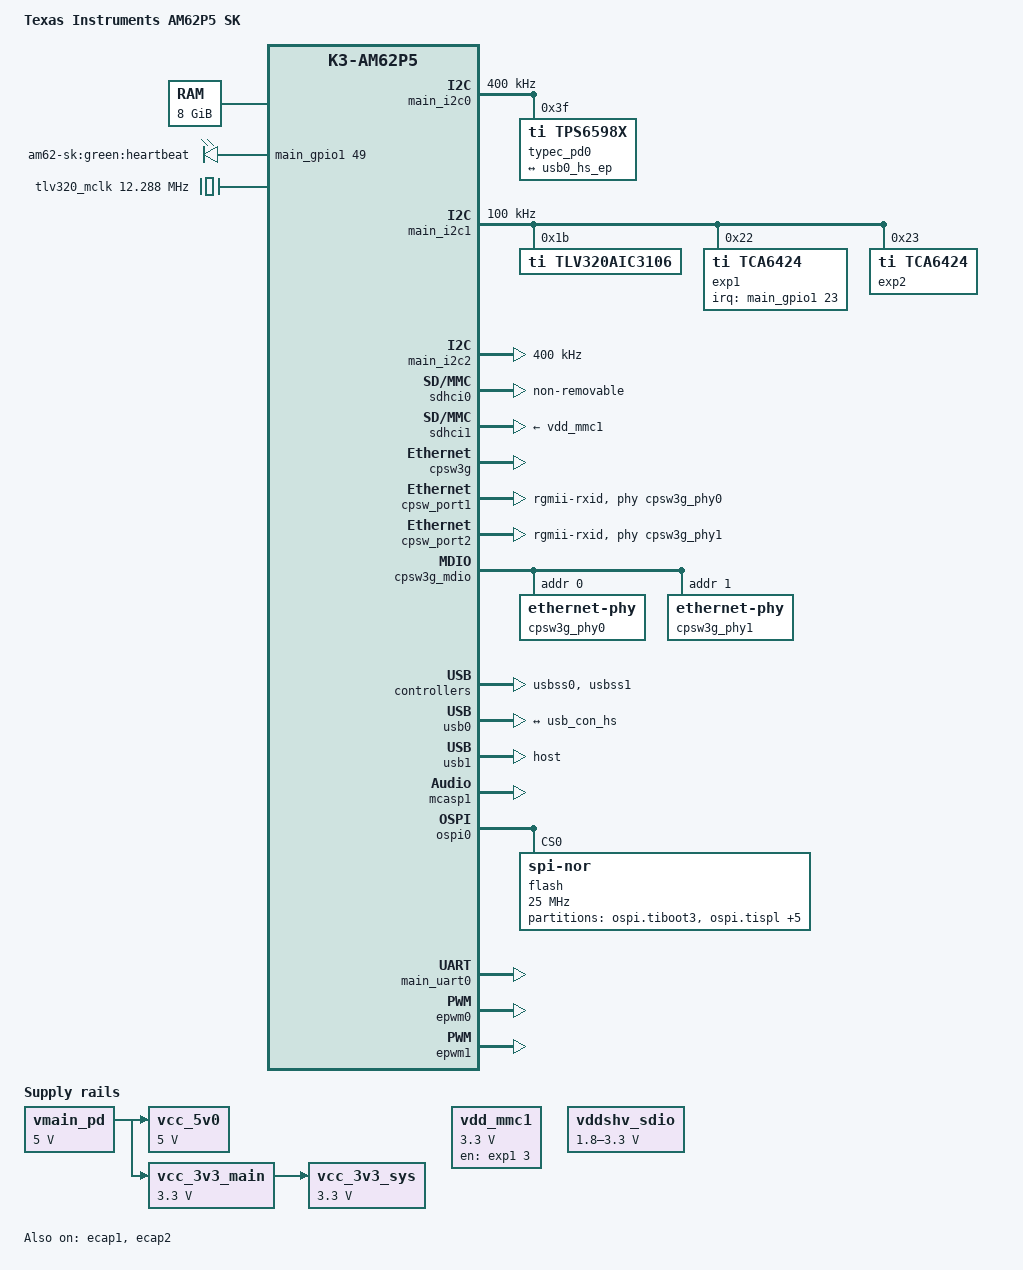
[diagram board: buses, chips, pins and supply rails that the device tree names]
// SPDX-License-Identifier: GPL-2.0-only OR MIT
/*
 * Device Tree file for the AM62P5-SK
 * Copyright (C) 2023-2024 Texas Instruments Incorporated - https://www.ti.com/
 *
 * Schematics: https://www.ti.com/lit/zip/sprr487
 */

/dts-v1/;

#include <dt-bindings/leds/common.h>
#include <dt-bindings/gpio/gpio.h>
#include <dt-bindings/net/ti-dp83867.h>
#include "k3-am62p5.dtsi"

/ {
	compatible = "ti,am62p5-sk", "ti,am62p5";
	model = "Texas Instruments AM62P5 SK";

	aliases {
		serial0 = &wkup_uart0;
		serial1 = &mcu_uart0;
		serial2 = &main_uart0;
		serial3 = &main_uart1;
		mmc0 = &sdhci0;
		mmc1 = &sdhci1;
		mmc2 = &sdhci2;
		spi0 = &ospi0;
		ethernet0 = &cpsw_port1;
		ethernet1 = &cpsw_port2;
		usb0 = &usb0;
		usb1 = &usb1;
	};

	chosen {
		stdout-path = &main_uart0;
	};

	memory@80000000 {
		/* 8G RAM */
		reg = <0x00000000 0x80000000 0x00000000 0x80000000>,
		      <0x00000008 0x80000000 0x00000001 0x80000000>;
		device_type = "memory";
		bootph-pre-ram;
	};

	reserved_memory: reserved-memory {
		#address-cells = <2>;
		#size-cells = <2>;
		ranges;

		wkup_r5fss0_core0_dma_memory_region: memory@9c800000 {
			compatible = "shared-dma-pool";
			reg = <0x00 0x9c800000 0x00 0x100000>;
			no-map;
		};

		wkup_r5fss0_core0_memory_region: memory@9c900000 {
			compatible = "shared-dma-pool";
			reg = <0x00 0x9c900000 0x00 0xf00000>;
			no-map;
		};

		secure_tfa_ddr: tfa@9e780000 {
			reg = <0x00 0x9e780000 0x00 0x80000>;
			no-map;
		};

		secure_ddr: optee@9e800000 {
			reg = <0x00 0x9e800000 0x00 0x01800000>; /* for OP-TEE */
			no-map;
		};
	};

	vmain_pd: regulator-0 {
		/* TPS65988 PD CONTROLLER OUTPUT */
		compatible = "regulator-fixed";
		regulator-name = "vmain_pd";
		regulator-min-microvolt = <5000000>;
		regulator-max-microvolt = <5000000>;
		regulator-always-on;
		regulator-boot-on;
		bootph-all;
	};

	vcc_5v0: regulator-1 {
		/* Output of TPS630702RNMR */
		compatible = "regulator-fixed";
		regulator-name = "vcc_5v0";
		regulator-min-microvolt = <5000000>;
		regulator-max-microvolt = <5000000>;
		vin-supply = <&vmain_pd>;
		regulator-always-on;
		regulator-boot-on;
		bootph-all;
	};

	vdd_mmc1: regulator-2 {
		/* TPS22918DBVR */
		compatible = "regulator-fixed";
		regulator-name = "vdd_mmc1";
		regulator-min-microvolt = <3300000>;
		regulator-max-microvolt = <3300000>;
		regulator-boot-on;
		enable-active-high;
		gpio = <&exp1 3 GPIO_ACTIVE_HIGH>;
		bootph-all;
	};

	vddshv_sdio: regulator-3 {
		compatible = "regulator-gpio";
		regulator-name = "vddshv_sdio";
		pinctrl-names = "default";
		pinctrl-0 = <&vddshv_sdio_pins_default>;
		regulator-min-microvolt = <1800000>;
		regulator-max-microvolt = <3300000>;
		regulator-boot-on;
		gpios = <&main_gpio0 31 GPIO_ACTIVE_HIGH>;
		states = <1800000 0x0>,
			 <3300000 0x1>;
		bootph-all;
	};

	vcc_3v3_main: regulator-4 {
		/* output of LM5141-Q1 */
		compatible = "regulator-fixed";
		regulator-name = "vcc_3v3_main";
		regulator-min-microvolt = <3300000>;
		regulator-max-microvolt = <3300000>;
		vin-supply = <&vmain_pd>;
		regulator-always-on;
		regulator-boot-on;
	};

	vcc_3v3_sys: regulator-5 {
		/* output of TPS222965DSGT */
		compatible = "regulator-fixed";
		regulator-name = "vcc_3v3_sys";
		regulator-min-microvolt = <3300000>;
		regulator-max-microvolt = <3300000>;
		vin-supply = <&vcc_3v3_main>;
		regulator-always-on;
		regulator-boot-on;
	};

	leds {
		compatible = "gpio-leds";
		pinctrl-names = "default";
		pinctrl-0 = <&usr_led_pins_default>;

		led-0 {
			label = "am62-sk:green:heartbeat";
			gpios = <&main_gpio1 49 GPIO_ACTIVE_HIGH>;
			linux,default-trigger = "heartbeat";
			function = LED_FUNCTION_HEARTBEAT;
			default-state = "off";
		};
	};

	opp-table {
		/* Requires VDD_CORE at 0v85 */
		opp-1400000000 {
			opp-hz = /bits/ 64 <1400000000>;
			opp-supported-hw = <0x01 0x0004>;
			clock-latency-ns = <6000000>;
		};
	};

	tlv320_mclk: clk-0 {
		#clock-cells = <0>;
		compatible = "fixed-clock";
		clock-frequency = <12288000>;
	};

	codec_audio: sound {
		compatible = "simple-audio-card";
		simple-audio-card,name = "AM62x-SKEVM";
		simple-audio-card,widgets =
			"Headphone",	"Headphone Jack",
			"Line",		"Line In",
			"Microphone",	"Microphone Jack";
		simple-audio-card,routing =
			"Headphone Jack",	"HPLOUT",
			"Headphone Jack",	"HPROUT",
			"LINE1L",		"Line In",
			"LINE1R",		"Line In",
			"MIC3R",		"Microphone Jack",
			"Microphone Jack",	"Mic Bias";
		simple-audio-card,format = "dsp_b";
		simple-audio-card,bitclock-master = <&sound_master>;
		simple-audio-card,frame-master = <&sound_master>;
		simple-audio-card,bitclock-inversion;

		simple-audio-card,cpu {
			sound-dai = <&mcasp1>;
		};

		sound_master: simple-audio-card,codec {
			sound-dai = <&tlv320aic3106>;
			clocks = <&tlv320_mclk>;
		};
	};
};

&cpsw_mac_syscon {
	bootph-all;
};

&phy_gmii_sel {
	bootph-all;
};

&main_gpio0 {
	bootph-all;
};

&main_gpio1 {
	bootph-all;
};

&main_pmx0 {
	bootph-all;

	main_i2c0_pins_default: main-i2c0-default-pins {
		pinctrl-single,pins = <
			AM62PX_IOPAD(0x01e0, PIN_INPUT_PULLUP, 0) /* (B25) I2C0_SCL */
			AM62PX_IOPAD(0x01e4, PIN_INPUT_PULLUP, 0) /* (A24) I2C0_SDA */
		>;
	};

	main_i2c1_pins_default: main-i2c1-default-pins {
		pinctrl-single,pins = <
			AM62PX_IOPAD(0x01e8, PIN_INPUT_PULLUP, 0) /* (C24) I2C1_SCL */
			AM62PX_IOPAD(0x01ec, PIN_INPUT_PULLUP, 0) /* (B24) I2C1_SDA */
		>;
		bootph-all;
	};

	main_i2c2_pins_default: main-i2c2-default-pins {
		pinctrl-single,pins = <
			AM62PX_IOPAD(0x00b0, PIN_INPUT_PULLUP, 1) /* (T22) GPMC0_CSn2.I2C2_SCL */
			AM62PX_IOPAD(0x00b4, PIN_INPUT_PULLUP, 1) /* (U25) GPMC0_CSn3.I2C2_SDA */
		>;
	};

	main_gpio1_ioexp_intr_pins_default: main-gpio1-ioexp-intr-default-pins {
		pinctrl-single,pins = <
			AM62PX_IOPAD(0x01d4, PIN_INPUT, 7) /* (C22) UART0_RTSn.GPIO1_23 */
		>;
	};

	main_mcasp1_pins_default: main-mcasp1-default-pins {
		pinctrl-single,pins = <
			AM62PX_IOPAD(0x0090, PIN_INPUT, 2) /* (U24) GPMC0_BE0n_CLE.MCASP1_ACLKX */
			AM62PX_IOPAD(0x0098, PIN_INPUT, 2) /* (AA24) GPMC0_WAIT0.MCASP1_AFSX */
			AM62PX_IOPAD(0x008c, PIN_OUTPUT, 2) /* (T25) GPMC0_WEn.MCASP1_AXR0 */
			AM62PX_IOPAD(0x0084, PIN_INPUT, 2) /* (R25) GPMC0_ADVn_ALE.MCASP1_AXR2 */
		>;
	};

	main_mdio1_pins_default: main-mdio1-default-pins {
		pinctrl-single,pins = <
			AM62PX_IOPAD(0x0160, PIN_OUTPUT, 0) /* (F17) MDIO0_MDC */
			AM62PX_IOPAD(0x015c, PIN_INPUT, 0) /* (F16) MDIO0_MDIO */
		>;
		bootph-all;
	};

	main_mmc1_pins_default: main-mmc1-default-pins {
		pinctrl-single,pins = <
			AM62PX_IOPAD(0x023c, PIN_INPUT, 0) /* (H20) MMC1_CMD */
			AM62PX_IOPAD(0x0234, PIN_OUTPUT, 0) /* (J24) MMC1_CLK */
			AM62PX_IOPAD(0x0230, PIN_INPUT, 0) /* (H21) MMC1_DAT0 */
			AM62PX_IOPAD(0x022c, PIN_INPUT_PULLUP, 0) /* (H23) MMC1_DAT1 */
			AM62PX_IOPAD(0x0228, PIN_INPUT_PULLUP, 0) /* (H22) MMC1_DAT2 */
			AM62PX_IOPAD(0x0224, PIN_INPUT_PULLUP, 0) /* (H25) MMC1_DAT3 */
			AM62PX_IOPAD(0x0240, PIN_INPUT, 0) /* (D23) MMC1_SDCD */
		>;
		bootph-all;
	};

	main_mmc2_pins_default: main-mmc2-default-pins {
		pinctrl-single,pins = <
			AM62PX_IOPAD(0x0120, PIN_INPUT, 0) /* (K24) MMC2_CMD */
			AM62PX_IOPAD(0x0118, PIN_OUTPUT, 0) /* (K21) MMC2_CLK */
			AM62PX_IOPAD(0x011C, PIN_INPUT, 0) /* () MMC2_CLKLB */
			AM62PX_IOPAD(0x0114, PIN_INPUT, 0) /* (K23) MMC2_DAT0 */
			AM62PX_IOPAD(0x0110, PIN_INPUT_PULLUP, 0) /* (K22) MMC2_DAT1 */
			AM62PX_IOPAD(0x010c, PIN_INPUT_PULLUP, 0) /* (L20) MMC2_DAT2 */
			AM62PX_IOPAD(0x0108, PIN_INPUT_PULLUP, 0) /* (L21) MMC2_DAT3 */
		>;
		bootph-all;
	};

	main_rgmii1_pins_default: main-rgmii1-default-pins {
		pinctrl-single,pins = <
			AM62PX_IOPAD(0x014c, PIN_INPUT, 0) /* (B15) RGMII1_RD0 */
			AM62PX_IOPAD(0x0150, PIN_INPUT, 0) /* (B16) RGMII1_RD1 */
			AM62PX_IOPAD(0x0154, PIN_INPUT, 0) /* (A14) RGMII1_RD2 */
			AM62PX_IOPAD(0x0158, PIN_INPUT, 0) /* (B14) RGMII1_RD3 */
			AM62PX_IOPAD(0x0148, PIN_INPUT, 0) /* (A16) RGMII1_RXC */
			AM62PX_IOPAD(0x0144, PIN_INPUT, 0) /* (A15) RGMII1_RX_CTL */
			AM62PX_IOPAD(0x0134, PIN_INPUT, 0) /* (A18) RGMII1_TD0 */
			AM62PX_IOPAD(0x0138, PIN_INPUT, 0) /* (C17) RGMII1_TD1 */
			AM62PX_IOPAD(0x013c, PIN_INPUT, 0) /* (A17) RGMII1_TD2 */
			AM62PX_IOPAD(0x0140, PIN_INPUT, 0) /* (C16) RGMII1_TD3 */
			AM62PX_IOPAD(0x0130, PIN_INPUT, 0) /* (B17) RGMII1_TXC */
			AM62PX_IOPAD(0x012c, PIN_INPUT, 0) /* (B18) RGMII1_TX_CTL */
		>;
		bootph-all;
	};

	main_rgmii2_pins_default: main-rgmii2-default-pins {
		pinctrl-single,pins = <
			AM62PX_IOPAD(0x0184, PIN_INPUT, 0) /* (E19) RGMII2_RD0 */
			AM62PX_IOPAD(0x0188, PIN_INPUT, 0) /* (E16) RGMII2_RD1 */
			AM62PX_IOPAD(0x018c, PIN_INPUT, 0) /* (E17) RGMII2_RD2 */
			AM62PX_IOPAD(0x0190, PIN_INPUT, 0) /* (C19) RGMII2_RD3 */
			AM62PX_IOPAD(0x0180, PIN_INPUT, 0) /* (D19) RGMII2_RXC */
			AM62PX_IOPAD(0x017c, PIN_INPUT, 0) /* (F19) RGMII2_RX_CTL */
			AM62PX_IOPAD(0x016c, PIN_INPUT, 0) /* (B19) RGMII2_TD0 */
			AM62PX_IOPAD(0x0170, PIN_INPUT, 0) /* (A21) RGMII2_TD1 */
			AM62PX_IOPAD(0x0174, PIN_INPUT, 0) /* (D17) RGMII2_TD2 */
			AM62PX_IOPAD(0x0178, PIN_INPUT, 0) /* (A19) RGMII2_TD3 */
			AM62PX_IOPAD(0x0168, PIN_INPUT, 0) /* (D16) RGMII2_TXC */
			AM62PX_IOPAD(0x0164, PIN_INPUT, 0) /* (A20) RGMII2_TX_CTL */
		>;
		bootph-all;
	};

	main_uart0_pins_default: main-uart0-default-pins {
		pinctrl-single,pins = <
			AM62PX_IOPAD(0x1c8, PIN_INPUT, 0)	/* (A22) UART0_RXD */
			AM62PX_IOPAD(0x1cc, PIN_OUTPUT, 0)	/* (B22) UART0_TXD */
		>;
		bootph-all;
	};

	main_uart1_pins_default: main-uart1-default-pins {
		pinctrl-single,pins = <
			AM62PX_IOPAD(0x0194, PIN_INPUT, 2) /* (D25) MCASP0_AXR3.UART1_CTSn */
			AM62PX_IOPAD(0x0198, PIN_OUTPUT, 2) /* (E25) MCASP0_AXR2.UART1_RTSn */
			AM62PX_IOPAD(0x01ac, PIN_INPUT, 2) /* (G23) MCASP0_AFSR.UART1_RXD */
			AM62PX_IOPAD(0x01b0, PIN_OUTPUT, 2) /* (G20) MCASP0_ACLKR.UART1_TXD */
		>;
		bootph-all;
	};

	main_usb1_pins_default: main-usb1-default-pins {
		pinctrl-single,pins = <
			AM62PX_IOPAD(0x0258, PIN_INPUT, 0) /* (G21) USB1_DRVVBUS */
		>;
	};

	main_wlirq_pins_default: main-wlirq-default-pins {
		pinctrl-single,pins = <
			AM62PX_IOPAD(0x0128, PIN_INPUT, 7) /* (K25) MMC2_SDWP.GPIO0_72 */
		>;
	};

	ospi0_pins_default: ospi0-default-pins {
		pinctrl-single,pins = <
			AM62PX_IOPAD(0x0000, PIN_OUTPUT, 0) /* (P23) OSPI0_CLK */
			AM62PX_IOPAD(0x002c, PIN_OUTPUT, 0) /* (M25) OSPI0_CSn0 */
			AM62PX_IOPAD(0x000c, PIN_INPUT, 0) /* (L25) OSPI0_D0 */
			AM62PX_IOPAD(0x0010, PIN_INPUT, 0) /* (N24) OSPI0_D1 */
			AM62PX_IOPAD(0x0014, PIN_INPUT, 0) /* (N25) OSPI0_D2 */
			AM62PX_IOPAD(0x0018, PIN_INPUT, 0) /* (M24) OSPI0_D3 */
			AM62PX_IOPAD(0x001c, PIN_INPUT, 0) /* (N21) OSPI0_D4 */
			AM62PX_IOPAD(0x0020, PIN_INPUT, 0) /* (N22) OSPI0_D5 */
			AM62PX_IOPAD(0x0024, PIN_INPUT, 0) /* (P21) OSPI0_D6 */
			AM62PX_IOPAD(0x0028, PIN_INPUT, 0) /* (N20) OSPI0_D7 */
			AM62PX_IOPAD(0x0008, PIN_INPUT, 0) /* (P22) OSPI0_DQS */
		>;
		bootph-all;
	};

	usr_led_pins_default: usr-led-default-pins {
		pinctrl-single,pins = <
			AM62PX_IOPAD(0x0244, PIN_INPUT, 7) /* (D24) MMC1_SDWP.GPIO1_49 */
		>;
	};

	vddshv_sdio_pins_default: vddshvr-sdio-default-pins {
		pinctrl-single,pins = <
			AM62PX_IOPAD(0x007c, PIN_INPUT, 7) /* (Y25) GPMC0_CLK.GPIO0_31 */
		>;
		bootph-all;
	};

	wlan_en_pins_default: wlan-en-default-pins {
		pinctrl-single,pins = <
			AM62PX_IOPAD(0x0124, PIN_INPUT, 7) /* (J25) MMC2_SDCD.GPIO0_71 */
		>;
	};

	main_ecap1_pins_default: main-ecap1-default-pins {
		pinctrl-single,pins = <
			AM62PX_IOPAD(0x019c, PIN_OUTPUT, 2) /* (E24) MCASP0_AXR1.ECAP1_IN_APWM_OUT */
		>;
	};

	main_ecap2_pins_default: main-ecap2-default-pins {
		pinctrl-single,pins = <
			AM62PX_IOPAD(0x01a4, PIN_OUTPUT, 2) /* (F24) MCASP0_ACLKX.ECAP2_IN_APWM_OUT */
		>;
	};

	main_epwm0_pins_default: main-epwm0-default-pins {
		pinctrl-single,pins = <
			AM62PX_IOPAD(0x01b4, PIN_OUTPUT, 2) /* (D20) SPI0_CS0.EHRPWM0_A */
			AM62PX_IOPAD(0x01b8, PIN_OUTPUT, 2) /* (E20) SPI0_CS1.EHRPWM0_B */
		>;
	};

	main_epwm1_pins_default: main-epwm1-default-pins {
		pinctrl-single,pins = <
			AM62PX_IOPAD(0x01bc, PIN_OUTPUT, 2) /* (B21) SPI0_CLK.EHRPWM1_A */
			AM62PX_IOPAD(0x01c0, PIN_OUTPUT, 2) /* (B20) SPI0_D0.EHRPWM1_B */
		>;
	};
};

&main_i2c0 {
	status = "okay";
	pinctrl-names = "default";
	pinctrl-0 = <&main_i2c0_pins_default>;
	clock-frequency = <400000>;

	typec_pd0: usb-power-controller@3f {
		compatible = "ti,tps6598x";
		reg = <0x3f>;

		connector {
			compatible = "usb-c-connector";
			label = "USB-C";
			self-powered;
			data-role = "dual";
			power-role = "sink";
			port {
				usb_con_hs: endpoint {
				remote-endpoint = <&usb0_hs_ep>;
				};
			};
		};
	};
};

&main_i2c1 {
	status = "okay";
	pinctrl-names = "default";
	pinctrl-0 = <&main_i2c1_pins_default>;
	clock-frequency = <100000>;
	bootph-all;

	tlv320aic3106: audio-codec@1b {
		#sound-dai-cells = <0>;
		compatible = "ti,tlv320aic3106";
		reg = <0x1b>;
		ai3x-micbias-vg = <1>;  /* 2.0V */
	};

	exp1: gpio@22 {
		compatible = "ti,tca6424";
		reg = <0x22>;
		gpio-controller;
		#gpio-cells = <2>;
		gpio-line-names = "OLDI_INT#", "x8_NAND_DETECT",
				   "UART1_FET_SEL", "MMC1_SD_EN",
				   "VPP_EN", "EXP_PS_3V3_EN",
				   "UART1_FET_BUF_EN", "EXP_HAT_DETECT",
				   "DSI_GPIO0", "DSI_GPIO1",
				   "OLDI_EDID", "BT_UART_WAKE_SOC_3V3",
				   "USB_TYPEA_OC_INDICATION", "CSI_GPIO0",
				   "CSI_GPIO1", "WLAN_ALERTn",
				   "HDMI_INTn", "TEST_GPIO2",
				   "MCASP1_FET_EN", "MCASP1_BUF_BT_EN",
				   "MCASP1_FET_SEL", "DSI_EDID",
				   "PD_I2C_IRQ", "IO_EXP_TEST_LED";

		interrupt-parent = <&main_gpio1>;
		interrupts = <23 IRQ_TYPE_EDGE_FALLING>;
		interrupt-controller;
		#interrupt-cells = <2>;

		pinctrl-names = "default";
		pinctrl-0 = <&main_gpio1_ioexp_intr_pins_default>;
		bootph-all;
	};

	exp2: gpio@23 {
		compatible = "ti,tca6424";
		reg = <0x23>;
		gpio-controller;
		#gpio-cells = <2>;
		gpio-line-names = "BT_EN_SOC", "EXP_PS_5V0_EN",
				   "", "",
				   "", "",
				   "", "",
				   "WL_LT_EN", "",
				   "TP3", "TP6",
				   "TP4", "TP7",
				   "TP5", "TP8",
				   "SoC_I2C2_MCAN_SEL", "GPIO_HDMI_RSTn",
				   "GPIO_CPSW2_RST", "GPIO_CPSW1_RST",
				   "GPIO_OLDI_RSTn", "GPIO_AUD_RSTn",
				   "GPIO_eMMC_RSTn", "SoC_WLAN_SDIO_RST";
	};
};

&main_i2c2 {
	status = "okay";
	pinctrl-names = "default";
	pinctrl-0 = <&main_i2c2_pins_default>;
	clock-frequency = <400000>;
};

&sdhci0 {
	status = "okay";
	non-removable;
	ti,driver-strength-ohm = <50>;
	bootph-all;
};

&sdhci1 {
	/* SD/MMC */
	status = "okay";
	vmmc-supply = <&vdd_mmc1>;
	vqmmc-supply = <&vddshv_sdio>;
	pinctrl-names = "default";
	pinctrl-0 = <&main_mmc1_pins_default>;
	disable-wp;
	bootph-all;
};

&cpsw3g {
	pinctrl-names = "default";
	pinctrl-0 = <&main_rgmii1_pins_default>,
		    <&main_rgmii2_pins_default>;
	status = "okay";
};

&cpsw_port1 {
	phy-mode = "rgmii-rxid";
	phy-handle = <&cpsw3g_phy0>;
	status = "okay";
	bootph-all;
};

&cpsw_port2 {
	phy-mode = "rgmii-rxid";
	phy-handle = <&cpsw3g_phy1>;
	status = "okay";
};

&cpsw3g_mdio {
	pinctrl-names = "default";
	pinctrl-0 = <&main_mdio1_pins_default>;
	status = "okay";

	cpsw3g_phy0: ethernet-phy@0 {
		reg = <0>;
		bootph-all;
		ti,rx-internal-delay = <DP83867_RGMIIDCTL_2_00_NS>;
		ti,fifo-depth = <DP83867_PHYCR_FIFO_DEPTH_4_B_NIB>;
		ti,min-output-impedance;
	};

	cpsw3g_phy1: ethernet-phy@1 {
		reg = <1>;
		ti,rx-internal-delay = <DP83867_RGMIIDCTL_2_00_NS>;
		ti,fifo-depth = <DP83867_PHYCR_FIFO_DEPTH_4_B_NIB>;
		ti,min-output-impedance;
	};
};

&usbss0 {
	status = "okay";
	ti,vbus-divider;
};

&usbss1 {
	status = "okay";
	ti,vbus-divider;
};

&usb0 {
	bootph-all;
	usb-role-switch;

	port {
		usb0_hs_ep: endpoint {
			remote-endpoint = <&usb_con_hs>;
		};
	};
};

&usb0_phy_ctrl {
	bootph-all;
};

&usb1 {
	dr_mode = "host";
	pinctrl-names = "default";
	pinctrl-0 = <&main_usb1_pins_default>;
};

&mcasp1 {
	status = "okay";
	#sound-dai-cells = <0>;

	pinctrl-names = "default";
	pinctrl-0 = <&main_mcasp1_pins_default>;

	op-mode = <0>;          /* MCASP_IIS_MODE */
	tdm-slots = <2>;

	serial-dir = <  /* 0: INACTIVE, 1: TX, 2: RX */
	       1 0 2 0
	       0 0 0 0
	       0 0 0 0
	       0 0 0 0
	>;
};

&fss {
	bootph-all;
};

&ospi0 {
	status = "okay";
	pinctrl-names = "default";
	pinctrl-0 = <&ospi0_pins_default>;
	bootph-all;

	flash@0 {
		compatible = "jedec,spi-nor";
		reg = <0x0>;
		spi-tx-bus-width = <8>;
		spi-rx-bus-width = <8>;
		spi-max-frequency = <25000000>;
		cdns,tshsl-ns = <60>;
		cdns,tsd2d-ns = <60>;
		cdns,tchsh-ns = <60>;
		cdns,tslch-ns = <60>;
		cdns,read-delay = <4>;
		bootph-all;

		partitions {
			compatible = "fixed-partitions";
			#address-cells = <1>;
			#size-cells = <1>;
			bootph-all;

			partition@0 {
				label = "ospi.tiboot3";
				reg = <0x00 0x80000>;
			};

			partition@80000 {
				label = "ospi.tispl";
				reg = <0x80000 0x200000>;
			};

			partition@280000 {
				label = "ospi.u-boot";
				reg = <0x280000 0x400000>;
			};

			partition@680000 {
				label = "ospi.env";
				reg = <0x680000 0x40000>;
			};

			partition@6c0000 {
				label = "ospi.env.backup";
				reg = <0x6c0000 0x40000>;
			};

			partition@800000 {
				label = "ospi.rootfs";
				reg = <0x800000 0x37c0000>;
			};

			partition@3fc0000 {
				label = "ospi.phypattern";
				reg = <0x3fc0000 0x40000>;
				bootph-all;
			};
		};
	};
};

&main_uart0 {
	pinctrl-names = "default";
	pinctrl-0 = <&main_uart0_pins_default>;
	status = "okay";
	bootph-all;
};

&main_uart1 {
	pinctrl-names = "default";
	pinctrl-0 = <&main_uart1_pins_default>;
	/* Main UART1 is used by TIFS firmware */
	status = "reserved";
	bootph-all;
};

&mcu_pmx0 {
	bootph-all;

	wkup_uart0_pins_default: wkup-uart0-default-pins {
		pinctrl-single,pins = <
			AM62PX_MCU_IOPAD(0x024, PIN_INPUT, 0)	/* (D8) WKUP_UART0_RXD */
			AM62PX_MCU_IOPAD(0x028, PIN_OUTPUT, 0)	/* (D7) WKUP_UART0_TXD */
		>;
		bootph-all;
	};
};

&wkup_uart0 {
	/* WKUP UART0 is used by DM firmware */
	pinctrl-names = "default";
	pinctrl-0 = <&wkup_uart0_pins_default>;
	status = "reserved";
	bootph-all;
};

/* mcu_gpio0 and mcu_gpio_intr are reserved for mcu firmware usage */
&mcu_gpio0 {
	status = "reserved";
};

&mcu_gpio_intr {
	status = "reserved";
};

&ecap1 {
	/* P36 of J4 */
	pinctrl-names = "default";
	pinctrl-0 = <&main_ecap1_pins_default>;
	status = "okay";
};

&ecap2 {
	/* P11 of J4 */
	pinctrl-names = "default";
	pinctrl-0 = <&main_ecap2_pins_default>;
	status = "okay";
};

&epwm0 {
	/* P24/P26 of J4 */
	pinctrl-names = "default";
	pinctrl-0 = <&main_epwm0_pins_default>;
	status = "okay";
};

&epwm1 {
	/* P23/P19 of J4 */
	pinctrl-names = "default";
	pinctrl-0 = <&main_epwm1_pins_default>;
	status = "okay";
};

#include "k3-am62p-ti-ipc-firmware.dtsi"
